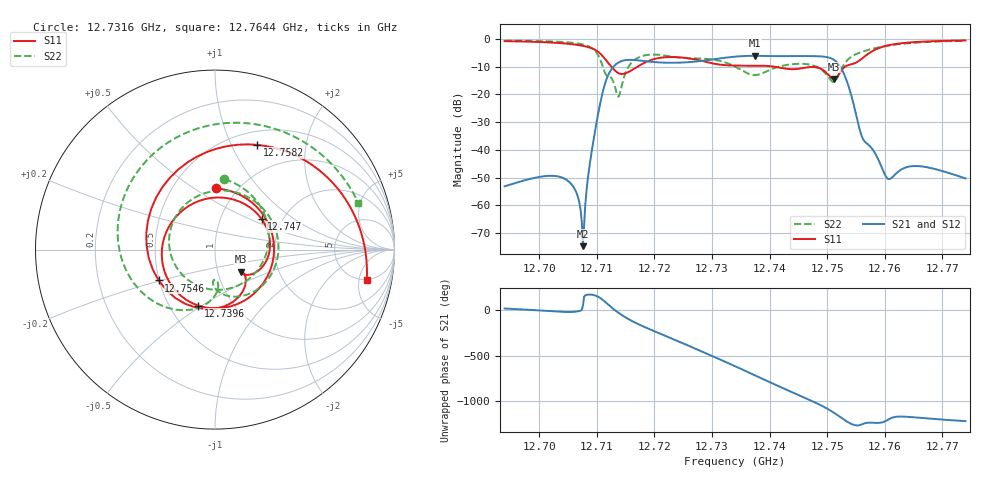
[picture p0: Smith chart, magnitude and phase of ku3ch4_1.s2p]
#  HZ  S  RI  R  50.00
! Rohde & Schwarz ZVA50 2Ports - Version 3.70 - 1145.1110k50 SN: 100192
! Date: 2025-10-24 10:33:41
! Measurements: S11 S21 S12 S22
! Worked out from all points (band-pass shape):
!   401 points, 12.694 GHz to 12.774 GHz, reference 50 ohm
!   highest |S21| = -6.11 dB at 12.7374 GHz (marker M1); lowest = -74.7 dB at 12.7076 GHz (marker M2)
!   |S21| within 3 dB of the highest: 12.71337 GHz to 12.75197 GHz (38.6 MHz wide, 0.303 % of centre)
!   lowest |S11| = -14.4 dB at 12.7512 GHz (marker M3), VSWR 1.47, Z = 64.6 - j16.5 ohm
!   |S11| at or under -10 dB: 12.71253 GHz to 12.7171 GHz (4.566 MHz wide, 0.0359 % of centre); 12.74076 GHz to 12.75314 GHz (12.37 MHz wide, 0.0971 % of centre)
!   |S22| runs from -20.9 to -0.6 dB; largest |S21 - S12| = 0.00021
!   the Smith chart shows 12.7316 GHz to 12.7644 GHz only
!   S11 on the Smith chart (normalised r, x): 12.7316 GHz: 0.80, +0.62; 12.7396 GHz: 0.69, -0.48; 12.747 GHz: 1.56, +0.59; 12.7546 GHz: 0.50, -0.20; 12.7582 GHz: 0.65, +1.26; 12.7644 GHz: 4.79, -6.44
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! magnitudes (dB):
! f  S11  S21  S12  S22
! 12.694 GHz  -0.8  -53.1  -53.1  -0.6
! 12.7042 GHz  -1.6  -50.2  -50.1  -1.1
! 12.7064 GHz  -2.1  -55.1  -55.1  -1.6
! 12.7074 GHz  -2.4  -65.9  -66.0  -1.9
! 12.7076 GHz  -2.5  -74.7  -74.6  -2.0
! 12.7098 GHz  -4.1  -32.0  -32.0  -4.5
! 12.712 GHz  -8.7  -13.0  -13.0  -13.4
! 12.7138 GHz  -12.4  -8.5  -8.5  -20.9
! 12.7162 GHz  -11.1  -7.6  -7.6  -8.2
! 12.7208 GHz  -6.9  -8.5  -8.5  -5.7
! 12.7316 GHz  -9.3  -7.0  -7.0  -8.1
! 12.734 GHz  -9.6  -6.4  -6.4  -10.0
! 12.7374 GHz  -9.7  -6.1  -6.1  -13.1
! 12.7396 GHz  -9.8  -6.2  -6.2  -11.6
! 12.747 GHz  -10.2  -6.2  -6.2  -9.3
! 12.7474 GHz  -10.1  -6.2  -6.2  -9.5
! 12.7512 GHz  -14.4  -7.6  -7.6  -15.5
! 12.7546 GHz  -8.9  -23.6  -23.6  -5.9
! 12.7582 GHz  -4.0  -40.8  -40.8  -3.4
! 12.7608 GHz  -2.2  -50.5  -50.5  -2.4
! 12.7644 GHz  -1.3  -46.0  -46.0  -1.5
! 12.774 GHz  -0.6  -50.3  -50.3  -0.7
